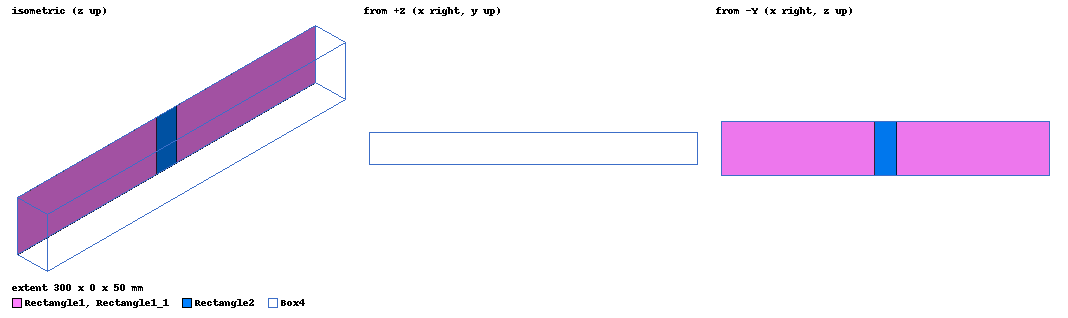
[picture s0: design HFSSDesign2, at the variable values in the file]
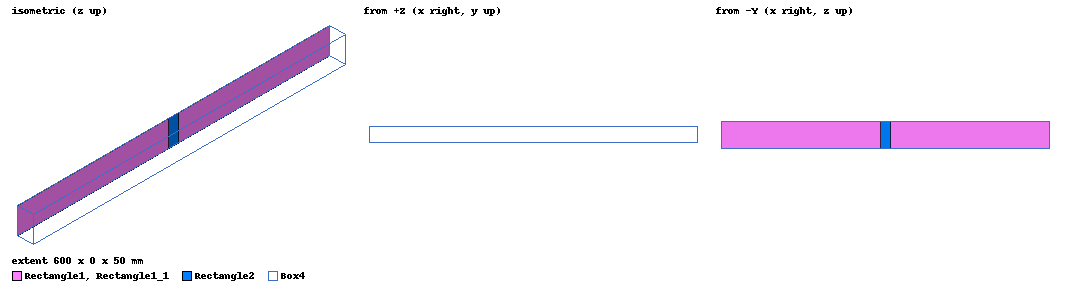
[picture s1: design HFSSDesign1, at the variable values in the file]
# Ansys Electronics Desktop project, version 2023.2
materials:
  vacuum: permittivity=1
  copper: permeability=0.999991 conductivity=58000000
  Material1: permittivity="1 - 1i"
  Material2: permittivity="2 - 0.5i"

design HFSSDesign2 (HFSS, Eigenmode, model units mm)
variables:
  x_size = 300mm
  y_size = 30mm
  z_size = 50mm
  Z_high_size = 20mm
  Phase_Delay = 10deg
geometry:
  Box4 [vacuum] = box(corner=(0mm, 0.5mm, 0mm), size=(x_size, y_size, z_size))
  Rectangle1 = rectangle(corner=(100mm, 0.5mm, 0mm), z_size=z_size, x_size=-0.5*(x_Size-Z_high_size))
  Rectangle1_1 = Rectangle1.duplicate_along_line(step=(-x_size +x_size/2-Z_high_size/2, 0mm, 0mm), total=2)
  Rectangle2 = rectangle(corner=(100mm-0.5*(x_Size-Z_high_size), 0.5mm, 0mm), z_size=z_size, x_size=-Z_high_size)
  [Rectangle1, Rectangle1_1, Rectangle2].move(200mm, 0mm, 0mm)
  Box4.move(-300mm, -2.8865799e-14mm, 0mm)
  Box4.move(300mm, 1.398881e-14mm, 0mm)
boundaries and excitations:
  Imped3: Impedance Objects=Rectangle2 Resistance=0 Reactance=399
  PerfH1: Perfect H Faces=Box4.face(-x, +x)
  Imped4: Impedance Objects=[Rectangle1, Rectangle1_1] Resistance=0 Reactance=133
  Primary1: Primary Faces=Box4.face(-z) CoordSysVector{(150, 0.5, 0) -> (150, 30.5, 0)}
  Secondary1: Secondary Faces=Box4.face(+z) CoordSysVector{(150, 0.5, 50) -> (150, 30.5, 50)} ReverseV primary=Primary1 PhaseDelay=InputPhaseDelay Phase=Phase_Delay
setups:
  Setup1: HfssEigen MinimumFrequency=0.5GHz NumModes=5 MaxDeltaFreq=5 ConvergeOnRealFreq=true MaximumPasses=20 MinimumPasses=4 MinimumConvergedPasses=2 PercentRefinement=30 BasisOrder=1
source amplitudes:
  #-10:1: 1 0deg
  #-10:2: 0 0deg
  #-10:3, #-10:4, #-10:5: 0V_per_meter 0deg
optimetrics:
  ParametricSetup1: Parametric disabled Sim._Setups=[Setup1]
    sweep Phase_Delay: LIN -180deg 180deg 10deg
  ParametricSetup2: Parametric Sim._Setups=[Setup1]
    sweep z_size: LIN 10mm 400mm 20mm
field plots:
  Mag_E1: E Field over Box4.face(+z) on Setup1 : LastAdaptive at Phase=0deg
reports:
  Eigen Modes Plot 2: re(Mode(1)) vs Phase_Delay on Setup1 : LastAdaptive
  Eigen Modes Plot 3: re(Mode(1)) vs z_size on Setup1 : LastAdaptive [Phase_Delay=all]; markers m1 at 400mm

design HFSSDesign1 (HFSS, HFSS Modal Network, model units mm)
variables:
  y_size = 30mm
  x_size = 600mm
  z_size = 50mm
  Z_high_size = 20mm
  W1 = 0W
  W2 = 0W
  W3 = 0W
  W4 = 0W
  W5 = 0W
  W6 = 0W
  W7 = 0W
  W8 = 0W
  W9 = 0W
  W10 = 0W
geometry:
  Box4 [vacuum] = box(corner=(0mm, 0.5mm, 0mm), size=(x_size, y_size, z_size))
  Box4.move(-300mm, -2.8865799e-14mm, 0mm)
  Box4.move(300mm, 1.398881e-14mm, 0mm)
  Rectangle1 = rectangle(corner=(100mm, 0.5mm, 0mm), z_size=z_size, x_size=-0.5*(x_Size-Z_high_size))
  Rectangle1_1 = Rectangle1.duplicate_along_line(step=(-x_size +x_size/2-Z_high_size/2, 0mm, 0mm), total=2)
  [Rectangle1, Rectangle1_1].move(200mm, 0mm, 0mm)
  Rectangle2 = rectangle(corner=(100mm-0.5*(x_Size-Z_high_size), 0.5mm, 0mm), z_size=z_size, x_size=-Z_high_size)
  Rectangle2.move(200mm, 0mm, 0mm)
  Box4.move(-300mm, -1.4321877e-14mm, 0mm)
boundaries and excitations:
  Imped3: Impedance Objects=Rectangle2 Resistance=0 Reactance=399
  PerfH1: Perfect H Faces=Box4.face(-x, +x)
  Imped4: Impedance Objects=[Rectangle1, Rectangle1_1] Resistance=0 Reactance=133
  1: Wave Port Faces=Box4.face(-z) WavePortType=Default NumModes=1 Modes{Mode1{CharImp=Zpi}}
  2: Wave Port Faces=Box4.face(+z) WavePortType=Default NumModes=1 Modes{Mode1{CharImp=Zpi}}
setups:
  Setup1: HfssDriven Frequency=0.7GHz MaxDeltaS=0.02 MaximumPasses=20 MinimumPasses=1 MinimumConvergedPasses=1 PercentRefinement=30 BasisOrder=1 PortAccuracy=2 DrivenSolverType="Direct Solver"
    sweep Sweep: 0.855GHz to 2.565GHz, 401 points; disabled Type=Interpolating InterpTolerance=0.5 InterpMaxSolns=250 InterpUsePortImped=false PassivityErrorTolerance=0.0001
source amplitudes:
  1:1: 1W 0deg
  2:1: 0W 0deg
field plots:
  Mag_E1: E Field over Box4.face(-z) on Setup1 : LastAdaptive at Freq=0.7GHz Phase=0deg
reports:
  S Parameter Plot 1: dB(S(1,1)), dB(S(2,1)) vs Freq on Setup1 : LastAdaptive; markers m1 at 700MHz, m2 at 700MHz
